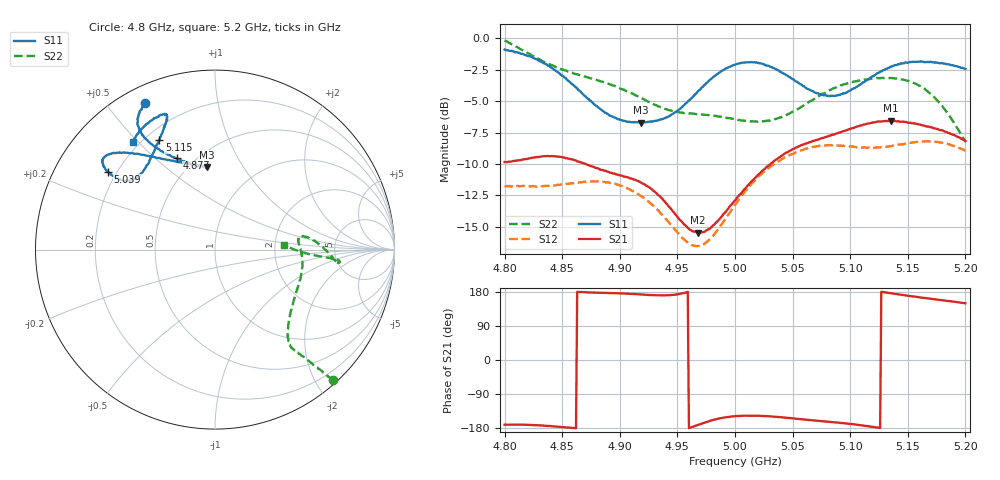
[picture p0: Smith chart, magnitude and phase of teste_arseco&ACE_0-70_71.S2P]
! Network Analyzer HP8722D
! Hewlett-Packard
! Data name: Linha & Wilkinson
! Saver's name: Rodrigo Anjos
! Comments: Teste da utilização de aquisição
! continua pelo VNA HP8722D
! Time and date: 8/5/2025 13:21
!  Frequency  S11  S21  S12  S22
# HZ  S  MA R 50
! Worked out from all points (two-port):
!   401 points, 4.8 GHz to 5.2 GHz, reference 50 ohm
!   highest |S21| = -6.56 dB at 5.135 GHz (marker M1); lowest = -15.5 dB at 4.968 GHz (marker M2)
!   |S21| within 3 dB of the highest: 4.821 GHz to 4.855 GHz (33.77 MHz wide, 0.698 % of centre); 5.037 GHz to end of sweep
!   lowest |S11| = -6.7 dB at 4.918 GHz (marker M3), VSWR 2.72, Z = 30.2 + j35.3 ohm
!   |S11| at or under -10 dB: nowhere
!   |S22| runs from -8.2 to -0.2 dB; largest |S21 - S12| = 0.83
!   S11 on the Smith chart (normalised r, x): 4.8 GHz: 0.07, +0.63; 4.877 GHz: 0.40, +0.59; 5.039 GHz: 0.17, +0.32; 5.115 GHz: 0.25, +0.58; 5.2 GHz: 0.17, +0.48
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4.8e9  0.9023 115.5  0.3222 -170.8  0.2582 -86.2  0.9811 -47.8
4.821e9  0.8515 120.4  0.3329 -171.1  0.2584 -81.5  0.8697 -49.0
4.835e9  0.7927 122.2  0.3398 -173.4  0.2587 -76.8  0.8039 -50.0
4.867e9  0.6058 117.3  0.32 179.1  0.2676 -67.8  0.7105 -51.8
4.877e9  0.5515 112.8  0.3084 177.9  0.2701 -66.8  0.6893 -52.1
4.9e9  0.4751 100.6  0.285 175.9  0.2599 -67.2  0.6328 -50.2
4.918e9  0.462 95.6  0.2672 172.9  0.2363 -69.3  0.5802 -45.0
4.934e9  0.4731 99.5  0.2369 170.7  0.2054 -69.9  0.5353 -36.9
4.956e9  0.5431 114.8  0.1813 177.1  0.1581 -60.8  0.5043 -22.4
4.968e9  0.617 123.3  0.1684 -171.3  0.1493 -47.9  0.4988 -15.1
4.98e9  0.6934 129.8  0.1785 -159.0  0.1621 -34.2  0.4931 -8.9
5e9  0.7861 137.1  0.2266 -148.5  0.2179 -21.7  0.477 -0.2
5.019e9  0.8018 141.4  0.2833 -147.1  0.2773 -19.0  0.4661 6.0
5.039e9  0.737 143.9  0.3374 -150.8  0.3269 -19.1  0.4845 8.7
5.067e9  0.6181 141.6  0.3897 -158.9  0.3695 -21.4  0.567 4.1
5.088e9  0.5922 132.6  0.4185 -164.8  0.3747 -24.6  0.6394 -2.5
5.115e9  0.6847 117.0  0.4579 -174.5  0.3673 -27.4  0.6879 -6.1
5.134e9  0.7645 110.6  0.469 176.8  0.3716 -29.5  0.6956 -5.4
5.135e9  0.7724 110.5  0.47 176.4  0.3732 -29.7  0.6957 -5.4
5.161e9  0.8098 112.0  0.4536 165.1  0.3886 -36.0  0.6455 -4.2
5.18e9  0.7964 118.9  0.4306 157.7  0.3842 -41.9  0.5374 -2.8
5.2e9  0.7556 127.3  0.3903 149.6  0.3572 -47.4  0.3876 3.5
